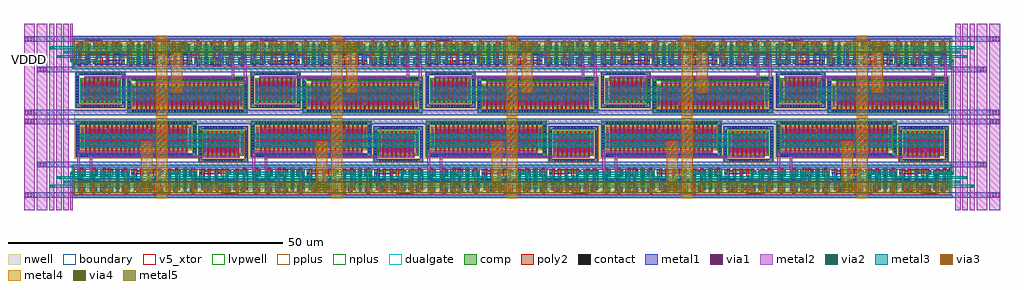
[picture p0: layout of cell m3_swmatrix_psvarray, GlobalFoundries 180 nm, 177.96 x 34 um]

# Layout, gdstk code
from math import pi, radians
import gdstk
lib = gdstk.Library(unit=1e-6, precision=5e-09)
def R(c, l, rs):  # rectangles x0, y0, x1, y1
    for r in rs: c.add(gdstk.rectangle(r[:2], r[2:], *l))
def A(c, l, x, y, w, h, nx, ny, dx, dy):  # array of equal rectangles
    R(c, l, [(x+i*dx, y+j*dy, x+i*dx+w, y+j*dy+h) for i in range(nx) for j in range(ny)])
def P(c, l, *ps):  # polygons
    for p in ps: c.add(gdstk.Polygon(p, *l))
boundary = (0, 0)
nwell = (21, 0)
comp = (22, 0)
poly2 = (30, 0)
pplus = (31, 0)
nplus = (32, 0)
contact = (33, 0)
metal1 = (34, 0)
via1 = (35, 0)
metal2 = (36, 0)
via2 = (38, 0)
via3 = (40, 0)
via4 = (41, 0)
metal3 = (42, 0)
metal4 = (46, 0)
dualgate = (55, 0)
metal5 = (81, 0)
v5_xtor = (112, 1)
lvpwell = (204, 0)

gf180mcu_fd_sc_mcu9t5v0_ = lib.new_cell('gf180mcu_fd_sc_mcu9t5v0__latq_1')
R(gf180mcu_fd_sc_mcu9t5v0_, boundary, [(0,0,11.2,5.04)])
R(gf180mcu_fd_sc_mcu9t5v0_, nwell, [(-0.43,2.265,11.63,5.47)])
R(gf180mcu_fd_sc_mcu9t5v0_, comp, [(9.54,0.345,11.02,1.665), (9.54,2.865,10.92,4.695)])
P(gf180mcu_fd_sc_mcu9t5v0_, comp, [(0.18,0.46),(0.18,1.25),(2.96,1.25),(2.96,0.55),(1.62,0.55),(1.62,0.46)],
  [(0.28,2.865),(0.28,4.245),(2.96,4.245),(2.96,3.245),(1.62,3.245),(1.62,2.865)],
  [(6.42,2.88),(6.42,3.26),(3.42,3.26),(3.42,4.26),(8.78,4.26),(8.78,2.88)],
  [(3.32,0.535),(3.32,1.235),(6.62,1.235),(6.62,1.325),(9.18,1.325),(9.18,0.535)])
P(gf180mcu_fd_sc_mcu9t5v0_, poly2, [(0.62,0.24),(0.62,1.47),(0.72,1.47),(0.72,4.465),(1.22,4.465),(1.22,0.24)],
  [(3.76,0.315),(3.76,1.455),(3.86,1.455),(3.86,4.48),(4.36,4.48),(4.36,0.315)],
  [(4.6,0.315),(4.6,1.925),(4.96,1.925),(4.96,1.715),(5.2,1.715),(5.2,0.315)],
  [(5.46,2.6),(5.46,2.96),(5.62,2.96),(5.62,4.48),(6.12,4.48),(6.12,3.04),(6.115,3.04),(6.115,2.6)],
  [(5.72,0.315),(5.72,2.16),(5.055,2.16),(5.055,2.165),(4.6,2.165),(4.6,4.72),(2.52,4.72),(2.52,0.33),(1.92,0.33),(1.92,1.47),(2.02,1.47),(2.02,4.92),(5.1,4.92),(5.1,2.36),(6.32,2.36),(6.32,0.315)],
  [(7.02,0.315),(7.02,2.66),(6.82,2.66),(6.82,4.48),(7.32,4.48),(7.32,1.925),(7.62,1.925),(7.62,0.315)],
  [(9.98,0.125),(9.98,1.965),(8.74,1.965),(8.74,0.315),(8.14,0.315),(8.14,2.66),(7.84,2.66),(7.84,4.48),(8.34,4.48),(8.34,2.325),(9.98,2.325),(9.98,4.915),(10.48,4.915),(10.48,1.885),(10.58,1.885),(10.58,0.125)])
R(gf180mcu_fd_sc_mcu9t5v0_, pplus, [(-0.2,2.265,11.4,5.24)])
R(gf180mcu_fd_sc_mcu9t5v0_, nplus, [(-0.2,-0.2,11.4,2.265)])
R(gf180mcu_fd_sc_mcu9t5v0_, contact, [(7.77,0.605,7.99,0.825), (1.37,0.615,1.59,0.835), (0.25,0.74,0.47,0.96), (2.67,0.74,2.89,0.96), (3.39,0.74,3.61,0.96), (9.61,0.74,9.83,0.96), (10.73,0.74,10.95,0.96), (5.35,0.945,5.57,1.165), (8.89,1.035,9.11,1.255), (9.61,1.21,9.83,1.43), (10.73,1.21,10.95,1.43), (0.79,1.635,1.01,1.855), (2.09,1.635,2.31,1.855), (4.07,1.635,4.29,1.855), (4.67,1.635,4.89,1.855), (7.09,1.635,7.31,1.855), (8.21,1.635,8.43,1.855), (5.53,2.67,5.75,2.89), (0.35,3.33,0.57,3.55), (1.37,3.33,1.59,3.55), (2.67,3.33,2.89,3.55), (3.49,3.33,3.71,3.55), (5.25,3.33,5.47,3.55), (7.47,3.33,7.69,3.55), (8.49,3.33,8.71,3.55), (9.61,3.33,9.83,3.55), (10.63,3.33,10.85,3.55), (0.35,3.8,0.57,4.02), (1.37,3.8,1.59,4.02), (2.67,3.8,2.89,4.02), (3.49,3.8,3.71,4.02), (5.25,3.8,5.47,4.02), (7.47,3.8,7.69,4.02), (8.49,3.8,8.71,4.02), (9.61,3.8,9.83,4.02), (10.63,3.8,10.85,4.02)])
R(gf180mcu_fd_sc_mcu9t5v0_, metal1, [(9.605,0.68,9.93,4.08), (4.065,1.21,4.33,2.15), (0.71,1.575,1.015,2.71)])
P(gf180mcu_fd_sc_mcu9t5v0_, metal1, [(0.245,0.68),(0.245,4.08),(0.575,4.08),(0.575,3.27),(0.475,3.27),(0.475,1.345),(1.085,1.345),(1.085,1.355),(2.085,1.355),(2.085,1.915),(2.315,1.915),(2.315,1.125),(1.155,1.125),(1.155,1.115),(0.475,1.115),(0.475,0.68)],
  [(2.665,0.68),(2.665,4.08),(2.895,4.08),(2.895,2.61),(5.525,2.61),(5.525,2.95),(5.755,2.95),(5.755,2.38),(4.895,2.38),(4.895,1.575),(4.665,1.575),(4.665,2.38),(2.895,2.38),(2.895,0.68)],
  [(5.345,0.885),(5.345,1.225),(5.985,1.225),(5.985,3.18),(5.245,3.18),(5.245,4.08),(5.475,4.08),(5.475,3.41),(6.215,3.41),(6.215,1.345),(8.205,1.345),(8.205,1.915),(8.435,1.915),(8.435,1.115),(6.19,1.115),(6.19,0.885)],
  [(8.665,0.975),(8.665,2.145),(7.315,2.145),(7.315,1.575),(7.085,1.575),(7.085,2.375),(8.485,2.375),(8.485,4.08),(8.735,4.08),(8.735,2.365),(9.115,2.365),(9.115,0.975)],
  [(0,-0.45),(0,0.45),(1.365,0.45),(1.365,0.895),(1.595,0.895),(1.595,0.45),(3.385,0.45),(3.385,1.02),(3.615,1.02),(3.615,0.45),(7.765,0.45),(7.765,0.885),(7.995,0.885),(7.995,0.45),(10.725,0.45),(10.725,1.49),(10.955,1.49),(10.955,0.45),(11.2,0.45),(11.2,-0.45)],
  [(1.365,3.27),(1.365,4.59),(0,4.59),(0,5.49),(11.2,5.49),(11.2,4.59),(10.855,4.59),(10.855,3.27),(10.625,3.27),(10.625,4.59),(7.695,4.59),(7.695,3.27),(7.465,3.27),(7.465,4.59),(3.715,4.59),(3.715,3.27),(3.485,3.27),(3.485,4.59),(1.595,4.59),(1.595,3.27)])
R(gf180mcu_fd_sc_mcu9t5v0_, dualgate, [(-0.28,-0.28,11.48,5.32)])
R(gf180mcu_fd_sc_mcu9t5v0_, v5_xtor, [(0,0,11.2,5.04)])
R(gf180mcu_fd_sc_mcu9t5v0_, lvpwell, [(-0.43,-0.43,11.63,2.265)])
gf180mcu_fd_sc_mcu9t5v0_.add(gdstk.Label('D', (4.2,1.4), layer=34, texttype=10))
gf180mcu_fd_sc_mcu9t5v0_.add(gdstk.Label('E', (0.84,1.96), layer=34, texttype=10))
gf180mcu_fd_sc_mcu9t5v0_.add(gdstk.Label('Q', (9.8,2.52), layer=34, texttype=10))
gf180mcu_fd_sc_mcu9t5v0_.add(gdstk.Label('VDD', (5.6,5.49), layer=34, texttype=10))
gf180mcu_fd_sc_mcu9t5v0_.add(gdstk.Label('VSS', (5.6,-0.45), layer=34, texttype=10))
gf180mcu_fd_sc_mcu9t5v0_.add(gdstk.Label('& Vendor GLOBALFOUNDRIES', (0,2), layer=63, texttype=63))
gf180mcu_fd_sc_mcu9t5v0_.add(gdstk.Label('& Product GF018hv5v_green_sc9', (0,1.5), layer=63, texttype=63))
gf180mcu_fd_sc_mcu9t5v0_.add(gdstk.Label('& Version 2015q2v2', (0,1), layer=63, texttype=63))
gf180mcu_fd_sc_mcu9t5v0_.add(gdstk.Label('& Metric 1.00', (0,0.5), layer=63, texttype=63))
gf180mcu_fd_sc_mcu9t5v0_.add(gdstk.Label('VNW', (0.345,3.92), layer=21, texttype=10))
gf180mcu_fd_sc_mcu9t5v0_.add(gdstk.Label('VPW', (0.34,-0.085), layer=204, texttype=10))

c_gf180mcu_fd_sc_mcu9t5v0_ = lib.new_cell('gf180mcu_fd_sc_mcu9t5v0__filltie')
R(c_gf180mcu_fd_sc_mcu9t5v0_, boundary, [(0,0,1.12,5.04)])
R(c_gf180mcu_fd_sc_mcu9t5v0_, nwell, [(-0.43,2.265,1.55,5.47)])
R(c_gf180mcu_fd_sc_mcu9t5v0_, comp, [(0.36,0.41,0.72,1.785), (0.36,2.425,0.72,3.855)])
R(c_gf180mcu_fd_sc_mcu9t5v0_, pplus, [(0.2,0.25,0.88,1.865)])
P(c_gf180mcu_fd_sc_mcu9t5v0_, pplus, [(-0.2,2.265),(-0.2,5.24),(1.32,5.24),(1.32,2.265),(0.88,2.265),(0.88,4.015),(0.2,4.015),(0.2,2.265)])
P(c_gf180mcu_fd_sc_mcu9t5v0_, nplus, [(-0.2,-0.2),(-0.2,2.265),(0.2,2.265),(0.2,4.015),(0.88,4.015),(0.88,1.865),(0.2,1.865),(0.2,0.25),(0.88,0.25),(0.88,4.015),(0.88,2.265),(1.32,2.265),(1.32,-0.2)])
A(c_gf180mcu_fd_sc_mcu9t5v0_, contact, 0.43, 0.555, 0.22, 0.22, 1, 3, 0, 0.47)
A(c_gf180mcu_fd_sc_mcu9t5v0_, contact, 0.43, 2.495, 0.22, 0.22, 1, 3, 0, 0.47)
P(c_gf180mcu_fd_sc_mcu9t5v0_, metal1, [(0,-0.45),(0,0.45),(0.33,0.45),(0.33,1.91),(0.71,1.91),(0.71,0.45),(1.12,0.45),(1.12,-0.45)],
  [(0.33,2.34),(0.33,4.59),(0,4.59),(0,5.49),(1.12,5.49),(1.12,4.59),(0.71,4.59),(0.71,2.34)])
R(c_gf180mcu_fd_sc_mcu9t5v0_, dualgate, [(-0.28,-0.28,1.4,5.32)])
R(c_gf180mcu_fd_sc_mcu9t5v0_, v5_xtor, [(0,0,1.12,5.04)])
R(c_gf180mcu_fd_sc_mcu9t5v0_, lvpwell, [(-0.43,-0.43,1.55,2.265)])
c_gf180mcu_fd_sc_mcu9t5v0_.add(gdstk.Label('VSS', (0.56,-0.45), layer=34, texttype=10))
c_gf180mcu_fd_sc_mcu9t5v0_.add(gdstk.Label('VDD', (0.56,5.49), layer=34, texttype=10))
c_gf180mcu_fd_sc_mcu9t5v0_.add(gdstk.Label('& Vendor GLOBALFOUNDRIES', (0,2), layer=63, texttype=63))
c_gf180mcu_fd_sc_mcu9t5v0_.add(gdstk.Label('& Product GF018hv5v_green_sc9', (0,1.5), layer=63, texttype=63))
c_gf180mcu_fd_sc_mcu9t5v0_.add(gdstk.Label('& Version 2015q2v2', (0,1), layer=63, texttype=63))
c_gf180mcu_fd_sc_mcu9t5v0_.add(gdstk.Label('& Metric 1.00', (0,0.5), layer=63, texttype=63))

m3_dff_2ph_clk_v2 = lib.new_cell('m3_dff_2ph_clk_v2')
R(m3_dff_2ph_clk_v2, metal1, [(-10.08,-5.49,12.32,-4.59), (-0.475,-4.36,-0.095,-2.42), (11.845,-4.36,12.225,-2.42), (-6.13,-4.15,-5.75,-2.89), (6.19,-4.15,6.57,-2.89), (-9.375,-3.465,-9.065,-2.09), (2.945,-3.465,3.255,-2.33), (3.255,-3.37,3.325,-2.87), (-9.065,-2.59,-8.995,-2.09), (-10.08,-0.45,12.32,0.45)])
A(m3_dff_2ph_clk_v2, via1, 11.905, -4.03, 0.26, 0.26, 1, 3, 0, 0.52)
R(m3_dff_2ph_clk_v2, via1, [(-6.07,-4.03,-5.81,-3.77), (-0.415,-4.03,-0.155,-3.77), (6.25,-4.03,6.51,-3.77), (2.985,-3.25,3.245,-2.99), (-9.335,-2.47,-9.075,-2.21)])
R(m3_dff_2ph_clk_v2, metal2, [(-6.13,-4.15,-5.75,-3.65), (-0.475,-4.15,-0.095,-3.65), (6.19,-4.15,6.57,-3.65), (11.845,-4.15,12.225,-2.67), (2.945,-3.37,3.325,-2.87), (-9.375,-2.59,-8.995,-2.09)])
R(m3_dff_2ph_clk_v2, via2, [(-6.07,-4.03,-5.81,-3.77), (-0.415,-4.03,-0.155,-3.77), (6.25,-4.03,6.51,-3.77), (11.905,-4.03,12.165,-3.77), (2.985,-3.25,3.245,-2.99), (-9.335,-2.47,-9.075,-2.21)])
m3_dff_2ph_clk_v2.add(gdstk.FlexPath([(-10.08,-3.12),(13.44,-3.12)], 0.5, ends="flush", simple_path=True, layer=42, datatype=0))  # metal3
m3_dff_2ph_clk_v2.add(gdstk.FlexPath([(-0.475,-3.9),(6.57,-3.9)], 0.5, ends="flush", simple_path=True, layer=42, datatype=0))  # metal3
m3_dff_2ph_clk_v2.add(gdstk.FlexPath([(-10.08,-3.9),(-5.75,-3.9)], 0.5, ends="flush", simple_path=True, layer=42, datatype=0))  # metal3
m3_dff_2ph_clk_v2.add(gdstk.FlexPath([(11.845,-3.9),(13.44,-3.9)], 0.5, ends="flush", simple_path=True, layer=42, datatype=0))  # metal3
m3_dff_2ph_clk_v2.add(gdstk.FlexPath([(-10.08,-2.34),(13.44,-2.34)], 0.5, ends="flush", simple_path=True, layer=42, datatype=0))  # metal3
m3_dff_2ph_clk_v2.add(gdstk.Reference(gf180mcu_fd_sc_mcu9t5v0_, (-10.08,-5.04)))
m3_dff_2ph_clk_v2.add(gdstk.Reference(c_gf180mcu_fd_sc_mcu9t5v0_, (1.12,-5.04)))
m3_dff_2ph_clk_v2.add(gdstk.Reference(gf180mcu_fd_sc_mcu9t5v0_, (2.24,-5.04)))
m3_dff_2ph_clk_v2.add(gdstk.Label('VSSD', (-10.07,-5.48), layer=34, texttype=10))
m3_dff_2ph_clk_v2.add(gdstk.Label('VDDD', (-10.07,0.44), layer=34, texttype=10))
m3_dff_2ph_clk_v2.add(gdstk.Label('Q', (13.425,-3.9), layer=42, texttype=10))
m3_dff_2ph_clk_v2.add(gdstk.Label('CLK_PH1', (-10.065,-2.34), layer=42, texttype=10))
m3_dff_2ph_clk_v2.add(gdstk.Label('CLK_PH2', (-10.065,-3.12), layer=42, texttype=10))
m3_dff_2ph_clk_v2.add(gdstk.Label('D', (-10.065,-3.9), layer=42, texttype=10))

pfet = lib.new_cell('pfet')
R(pfet, nwell, [(-1.76,-1.43,20.82,5.81)])
R(pfet, comp, [(-0.46,0,0,4), (0,0,19.06,4), (19.06,0,19.52,4)])
P(pfet, comp, [(-1.32,-0.99),(-1.32,4.99),(-0.94,4.99),(-0.94,-0.61),(20,-0.61),(20,4.99),(-1.32,4.99),(-1.32,5.37),(20.38,5.37),(20.38,-0.99)])
A(pfet, poly2, 0.19, -0.3, 0.28, 4.6, 24, 1, 0.8, 0)
A(pfet, poly2, 0.14, 4.3, 0.38, 0.38, 24, 1, 0.8, 0)
R(pfet, pplus, [(-0.63,-0.24,19.69,4.24)])
A(pfet, contact, -0.525, -0.91, 0.22, 0.22, 40, 2, 0.51, 5.98)
A(pfet, contact, -1.24, -0.215, 0.22, 0.22, 1, 10, 0, 0.51)
A(pfet, contact, 20.08, -0.215, 0.22, 0.22, 1, 10, 0, 0.51)
A(pfet, contact, -0.34, 0.36, 0.22, 0.22, 1, 7, 0, 0.51)
A(pfet, contact, 0.62, 0.36, 0.22, 0.22, 23, 7, 0.8, 0.51)
A(pfet, contact, 19.18, 0.36, 0.22, 0.22, 1, 7, 0, 0.51)
A(pfet, contact, 0.22, 4.38, 0.22, 0.22, 24, 1, 0.8, 0)
A(pfet, metal1, 0.54, 0.28, 0.38, 3.44, 23, 1, 0.8, 0)
A(pfet, metal1, 0.14, 4.3, 0.38, 0.38, 24, 1, 0.8, 0)
R(pfet, metal1, [(-0.42,0.28,-0.04,3.72), (19.1,0.28,19.48,3.72)])

c_gf180mcu_fd_sc_mcu9t5v0__ = lib.new_cell('gf180mcu_fd_sc_mcu9t5v0__nand2_1')
R(c_gf180mcu_fd_sc_mcu9t5v0__, boundary, [(0,0,2.8,5.04)])
R(c_gf180mcu_fd_sc_mcu9t5v0__, nwell, [(-0.43,2.265,3.23,5.47)])
R(c_gf180mcu_fd_sc_mcu9t5v0__, comp, [(0.185,0.345,2.585,1.665), (0.185,2.865,2.585,4.51)])
P(c_gf180mcu_fd_sc_mcu9t5v0__, poly2, [(0.625,0.125),(0.625,4.73),(1.125,4.73),(1.125,1.885),(1.225,1.885),(1.225,0.125)],
  [(1.545,0.125),(1.545,1.885),(1.645,1.885),(1.645,4.73),(2.145,4.73),(2.145,0.125)])
R(c_gf180mcu_fd_sc_mcu9t5v0__, pplus, [(-0.2,2.265,3,5.24)])
R(c_gf180mcu_fd_sc_mcu9t5v0__, nplus, [(-0.2,-0.2,3,2.265)])
R(c_gf180mcu_fd_sc_mcu9t5v0__, contact, [(0.255,0.415,0.475,0.635), (2.295,0.74,2.515,0.96), (0.255,0.885,0.475,1.105), (2.295,1.21,2.515,1.43), (1.835,2.39,2.055,2.61), (0.695,2.475,0.915,2.695), (1.275,3.08,1.495,3.3), (1.275,3.55,1.495,3.77), (0.255,3.75,0.475,3.97), (0.255,4.22,0.475,4.44), (2.295,4.22,2.515,4.44)])
R(c_gf180mcu_fd_sc_mcu9t5v0__, metal1, [(0.635,1.77,0.975,2.71), (1.83,2.33,2.09,3.27)])
P(c_gf180mcu_fd_sc_mcu9t5v0__, metal1, [(2.29,0.68),(2.29,1.21),(1.27,1.21),(1.27,1.59),(2.32,1.59),(2.32,3.6),(1.53,3.6),(1.53,3.02),(1.27,3.02),(1.27,3.83),(2.55,3.83),(2.55,0.68)],
  [(0,-0.45),(0,0.45),(0.25,0.45),(0.25,1.165),(0.48,1.165),(0.48,0.45),(2.8,0.45),(2.8,-0.45)],
  [(0.25,3.69),(0.25,4.59),(0,4.59),(0,5.49),(2.8,5.49),(2.8,4.59),(2.52,4.59),(2.52,4.16),(2.29,4.16),(2.29,4.59),(0.48,4.59),(0.48,3.69)])
R(c_gf180mcu_fd_sc_mcu9t5v0__, dualgate, [(-0.28,-0.28,3.08,5.32)])
R(c_gf180mcu_fd_sc_mcu9t5v0__, v5_xtor, [(0,0,2.8,5.04)])
R(c_gf180mcu_fd_sc_mcu9t5v0__, lvpwell, [(-0.43,-0.43,3.23,2.265)])
c_gf180mcu_fd_sc_mcu9t5v0__.add(gdstk.Label('A1', (1.96,2.52), layer=34, texttype=10))
c_gf180mcu_fd_sc_mcu9t5v0__.add(gdstk.Label('A2', (0.84,1.96), layer=34, texttype=10))
c_gf180mcu_fd_sc_mcu9t5v0__.add(gdstk.Label('VDD', (1.4,5.49), layer=34, texttype=10))
c_gf180mcu_fd_sc_mcu9t5v0__.add(gdstk.Label('VSS', (1.4,-0.45), layer=34, texttype=10))
c_gf180mcu_fd_sc_mcu9t5v0__.add(gdstk.Label('ZN', (1.96,1.4), layer=34, texttype=10))
c_gf180mcu_fd_sc_mcu9t5v0__.add(gdstk.Label('& Vendor GLOBALFOUNDRIES', (0,2), layer=63, texttype=63))
c_gf180mcu_fd_sc_mcu9t5v0__.add(gdstk.Label('& Product GF018hv5v_green_sc9', (0,1.5), layer=63, texttype=63))
c_gf180mcu_fd_sc_mcu9t5v0__.add(gdstk.Label('& Version 2015q2v2', (0,1), layer=63, texttype=63))
c_gf180mcu_fd_sc_mcu9t5v0__.add(gdstk.Label('& Metric 1.00', (0,0.5), layer=63, texttype=63))
c_gf180mcu_fd_sc_mcu9t5v0__.add(gdstk.Label('VNW', (0.345,3.92), layer=21, texttype=10))
c_gf180mcu_fd_sc_mcu9t5v0__.add(gdstk.Label('VPW', (0.34,-0.085), layer=204, texttype=10))

c_gf180mcu_fd_sc_mcu9t5v0___ = lib.new_cell('gf180mcu_fd_sc_mcu9t5v0__inv_1')
R(c_gf180mcu_fd_sc_mcu9t5v0___, boundary, [(0,0,2.24,5.04)])
R(c_gf180mcu_fd_sc_mcu9t5v0___, nwell, [(-0.43,2.265,2.67,5.47)])
R(c_gf180mcu_fd_sc_mcu9t5v0___, comp, [(0.18,0.345,1.66,1.665), (0.28,2.865,1.66,4.695)])
P(c_gf180mcu_fd_sc_mcu9t5v0___, poly2, [(0.62,0.125),(0.62,1.885),(0.72,1.885),(0.72,4.915),(1.22,4.915),(1.22,0.125)])
R(c_gf180mcu_fd_sc_mcu9t5v0___, pplus, [(-0.2,2.265,2.44,5.24)])
R(c_gf180mcu_fd_sc_mcu9t5v0___, nplus, [(-0.2,-0.2,2.44,2.265)])
R(c_gf180mcu_fd_sc_mcu9t5v0___, contact, [(0.25,0.74,0.47,0.96), (1.37,0.74,1.59,0.96), (0.25,1.21,0.47,1.43), (1.37,1.21,1.59,1.43), (0.79,1.835,1.01,2.055), (0.79,2.305,1.01,2.525), (0.35,3.61,0.57,3.83), (1.37,3.61,1.59,3.83), (0.35,4.08,0.57,4.3), (1.37,4.08,1.59,4.3)])
P(c_gf180mcu_fd_sc_mcu9t5v0___, metal1, [(0.71,1.21),(0.71,2.53),(1.07,2.53),(1.07,2.3),(1.015,2.3),(1.015,1.21)],
  [(1.27,0.68),(1.27,2.15),(1.365,2.15),(1.365,4.36),(1.595,4.36),(1.595,0.68)],
  [(0,-0.45),(0,0.45),(0.245,0.45),(0.245,1.49),(0.475,1.49),(0.475,0.45),(2.24,0.45),(2.24,-0.45)],
  [(0.345,3.55),(0.345,4.59),(0,4.59),(0,5.49),(2.24,5.49),(2.24,4.59),(0.575,4.59),(0.575,3.55)])
R(c_gf180mcu_fd_sc_mcu9t5v0___, dualgate, [(-0.28,-0.28,2.52,5.32)])
R(c_gf180mcu_fd_sc_mcu9t5v0___, v5_xtor, [(0,0,2.24,5.04)])
R(c_gf180mcu_fd_sc_mcu9t5v0___, lvpwell, [(-0.43,-0.43,2.67,2.265)])
c_gf180mcu_fd_sc_mcu9t5v0___.add(gdstk.Label('I', (0.84,1.96), layer=34, texttype=10))
c_gf180mcu_fd_sc_mcu9t5v0___.add(gdstk.Label('VDD', (1.12,5.49), layer=34, texttype=10))
c_gf180mcu_fd_sc_mcu9t5v0___.add(gdstk.Label('VSS', (1.12,-0.45), layer=34, texttype=10))
c_gf180mcu_fd_sc_mcu9t5v0___.add(gdstk.Label('ZN', (1.4,1.96), layer=34, texttype=10))
c_gf180mcu_fd_sc_mcu9t5v0___.add(gdstk.Label('& Vendor GLOBALFOUNDRIES', (0,2), layer=63, texttype=63))
c_gf180mcu_fd_sc_mcu9t5v0___.add(gdstk.Label('& Product GF018hv5v_green_sc9', (0,1.5), layer=63, texttype=63))
c_gf180mcu_fd_sc_mcu9t5v0___.add(gdstk.Label('& Version 2015q2v2', (0,1), layer=63, texttype=63))
c_gf180mcu_fd_sc_mcu9t5v0___.add(gdstk.Label('& Metric 1.00', (0,0.5), layer=63, texttype=63))
c_gf180mcu_fd_sc_mcu9t5v0___.add(gdstk.Label('VNW', (0.345,3.92), layer=21, texttype=10))
c_gf180mcu_fd_sc_mcu9t5v0___.add(gdstk.Label('VPW', (0.34,-0.085), layer=204, texttype=10))

c_gf180mcu_fd_sc_mcu9t5v0____ = lib.new_cell('gf180mcu_fd_sc_mcu9t5v0__filltie$4')
R(c_gf180mcu_fd_sc_mcu9t5v0____, boundary, [(0,0,1.12,5.04)])
R(c_gf180mcu_fd_sc_mcu9t5v0____, nwell, [(-0.43,2.265,1.55,5.47)])
R(c_gf180mcu_fd_sc_mcu9t5v0____, comp, [(0.36,0.41,0.72,1.785), (0.36,2.425,0.72,3.855)])
R(c_gf180mcu_fd_sc_mcu9t5v0____, pplus, [(0.2,0.25,0.88,1.865)])
P(c_gf180mcu_fd_sc_mcu9t5v0____, pplus, [(-0.2,2.265),(-0.2,5.24),(1.32,5.24),(1.32,2.265),(0.88,2.265),(0.88,4.015),(0.2,4.015),(0.2,2.265)])
P(c_gf180mcu_fd_sc_mcu9t5v0____, nplus, [(-0.2,-0.2),(-0.2,2.265),(0.2,2.265),(0.2,4.015),(0.88,4.015),(0.88,1.865),(0.2,1.865),(0.2,0.25),(0.88,0.25),(0.88,4.015),(0.88,2.265),(1.32,2.265),(1.32,-0.2)])
A(c_gf180mcu_fd_sc_mcu9t5v0____, contact, 0.43, 0.555, 0.22, 0.22, 1, 3, 0, 0.47)
A(c_gf180mcu_fd_sc_mcu9t5v0____, contact, 0.43, 2.495, 0.22, 0.22, 1, 3, 0, 0.47)
P(c_gf180mcu_fd_sc_mcu9t5v0____, metal1, [(0,-0.45),(0,0.45),(0.33,0.45),(0.33,1.91),(0.71,1.91),(0.71,0.45),(1.12,0.45),(1.12,-0.45)],
  [(0.33,2.34),(0.33,4.59),(0,4.59),(0,5.49),(1.12,5.49),(1.12,4.59),(0.71,4.59),(0.71,2.34)])
R(c_gf180mcu_fd_sc_mcu9t5v0____, dualgate, [(-0.28,-0.28,1.4,5.32)])
R(c_gf180mcu_fd_sc_mcu9t5v0____, v5_xtor, [(0,0,1.12,5.04)])
R(c_gf180mcu_fd_sc_mcu9t5v0____, lvpwell, [(-0.43,-0.43,1.55,2.265)])
c_gf180mcu_fd_sc_mcu9t5v0____.add(gdstk.Label('VSS', (0.56,-0.45), layer=34, texttype=10))
c_gf180mcu_fd_sc_mcu9t5v0____.add(gdstk.Label('VDD', (0.56,5.49), layer=34, texttype=10))
c_gf180mcu_fd_sc_mcu9t5v0____.add(gdstk.Label('& Vendor GLOBALFOUNDRIES', (0,2), layer=63, texttype=63))
c_gf180mcu_fd_sc_mcu9t5v0____.add(gdstk.Label('& Product GF018hv5v_green_sc9', (0,1.5), layer=63, texttype=63))
c_gf180mcu_fd_sc_mcu9t5v0____.add(gdstk.Label('& Version 2015q2v2', (0,1), layer=63, texttype=63))
c_gf180mcu_fd_sc_mcu9t5v0____.add(gdstk.Label('& Metric 1.00', (0,0.5), layer=63, texttype=63))

nfet = lib.new_cell('nfet')
R(nfet, comp, [(-0.42,0,0,4), (0,0,6.26,4), (6.26,0,6.68,4)])
P(nfet, comp, [(-1.28,-0.99),(-1.28,4.98),(-0.9,4.98),(-0.9,-0.61),(7.16,-0.61),(7.16,4.98),(-1.28,4.98),(-1.28,5.36),(7.54,5.36),(7.54,-0.99)])
A(nfet, poly2, 0.19, -0.3, 0.28, 4.6, 8, 1, 0.8, 0)
A(nfet, poly2, 0.15, 4.3, 0.36, 0.36, 8, 1, 0.8, 0)
P(nfet, pplus, [(-1.45,-1.16),(-1.45,4.81),(-0.73,4.81),(-0.73,-0.44),(6.99,-0.44),(6.99,4.81),(-1.45,4.81),(-1.45,5.53),(7.71,5.53),(7.71,-1.16)])
R(nfet, nplus, [(-0.59,-0.24,6.85,4.24)])
A(nfet, contact, -0.295, -0.91, 0.22, 0.22, 14, 2, 0.51, 5.97)
A(nfet, contact, -1.2, -0.22, 0.22, 0.22, 1, 10, 0, 0.51)
A(nfet, contact, 7.24, -0.22, 0.22, 0.22, 1, 10, 0, 0.51)
A(nfet, contact, -0.32, 0.36, 0.22, 0.22, 1, 7, 0, 0.51)
A(nfet, contact, 0.62, 0.36, 0.22, 0.22, 7, 7, 0.8, 0.51)
A(nfet, contact, 6.36, 0.36, 0.22, 0.22, 1, 7, 0, 0.51)
A(nfet, contact, 0.22, 4.37, 0.22, 0.22, 8, 1, 0.8, 0)
A(nfet, metal1, 0.54, 0.28, 0.38, 3.44, 7, 1, 0.8, 0)
A(nfet, metal1, 0.14, 4.29, 0.38, 0.38, 8, 1, 0.8, 0)
R(nfet, metal1, [(-0.4,0.28,-0.02,3.72), (6.28,0.28,6.66,3.72)])

m3_tgate_v2 = lib.new_cell('m3_tgate_v2')
R(m3_tgate_v2, metal1, [(12.885,2.2,12.945,3.55), (15.125,2.2,15.185,3.55), (10.2,3.85,10.32,4.29)])
A(m3_tgate_v2, via1, -5.41, -5.21, 0.26, 0.26, 1, 6, 0, 0.52)
A(m3_tgate_v2, via1, -4.45, -5.21, 0.26, 0.26, 23, 6, 0.8, 0.52)
A(m3_tgate_v2, via1, 14.11, -5.21, 0.26, 0.26, 1, 6, 0, 0.52)
A(m3_tgate_v2, via1, -14.86, -4.26, 0.26, 0.26, 1, 6, 0, 0.52)
A(m3_tgate_v2, via1, -13.92, -4.26, 0.26, 0.26, 7, 6, 0.8, 0.52)
A(m3_tgate_v2, via1, -8.18, -4.26, 0.26, 0.26, 1, 6, 0, 0.52)
A(m3_tgate_v2, via1, -4.85, -1.42, 0.26, 0.26, 24, 1, 0.8, 0)
A(m3_tgate_v2, via1, -14.32, -0.48, 0.26, 0.26, 8, 1, 0.8, 0)
A(m3_tgate_v2, via1, 12.625, 2.27, 0.26, 0.26, 1, 3, 0, 0.52)
A(m3_tgate_v2, via1, 14.865, 2.27, 0.26, 0.26, 1, 3, 0, 0.52)
R(m3_tgate_v2, via1, [(9.165,3.39,9.425,3.65), (9.165,3.91,9.425,4.17), (10.26,3.95,10.52,4.21)])
A(m3_tgate_v2, via2, -13.12, -4.49, 0.26, 0.26, 3, 2, 1.6, 0.62)
A(m3_tgate_v2, via2, -3.65, -4.49, 0.26, 0.26, 11, 2, 1.6, 0.62)
A(m3_tgate_v2, via2, -13.92, -3, 0.26, 0.26, 4, 2, 1.6, 0.62)
A(m3_tgate_v2, via2, -4.45, -3, 0.26, 0.26, 3, 2, 1.6, 0.62)
R(m3_tgate_v2, via2, [(-14.86,-4.49,-14.6,-4.23), (-8.18,-4.49,-7.92,-4.23), (-5.41,-4.49,-5.15,-4.23), (14.11,-4.49,14.37,-4.23), (-14.86,-3.87,-14.6,-3.61), (-8.18,-3.87,-7.92,-3.61), (-5.41,-3.87,-5.15,-3.61), (14.11,-3.87,14.37,-3.61), (0.355,-3,0.615,-2.74), (1.95,-3,2.21,-2.74), (3.55,-3,3.81,-2.74), (5.155,-3,5.415,-2.74), (6.75,-3,7.01,-2.74), (8.35,-3,8.61,-2.74), (9.955,-3,10.215,-2.74), (11.55,-3,11.81,-2.74), (13.15,-3,13.41,-2.74), (0.355,-2.38,0.615,-2.12), (1.95,-2.38,2.21,-2.12), (3.55,-2.38,3.81,-2.12), (5.155,-2.38,5.415,-2.12), (6.75,-2.38,7.01,-2.12), (8.35,-2.38,8.61,-2.12), (9.955,-2.38,10.215,-2.12), (11.55,-2.38,11.81,-2.12), (13.15,-2.38,13.41,-2.12), (10.24,2.53,10.5,2.79), (9.165,4.87,9.425,5.13)])
m3_tgate_v2.add(gdstk.FlexPath([(-6.54,-0.6),(15.14,-0.6),(15.14,-6.58),(-6.18,-6.58),(-6.18,-0.96)], 0.72, ends="flush", simple_path=True, layer=32, datatype=0))  # nplus
m3_tgate_v2.add(gdstk.FlexPath([(13.87,-1.29),(-4.91,-1.29)], 0.38, ends="flush", simple_path=True, layer=34, datatype=0))  # metal1
m3_tgate_v2.add(gdstk.FlexPath([(-6.43,-0.6),(15.14,-0.6),(15.14,-6.58),(-6.18,-6.58),(-6.18,-0.85)], 0.5, ends="flush", simple_path=True, layer=34, datatype=0))  # metal1
m3_tgate_v2.add(gdstk.FlexPath([(15.77,-6.83),(-15.97,-6.83)], 1, ends="flush", simple_path=True, layer=34, datatype=0))  # metal1
m3_tgate_v2.add(gdstk.FlexPath([(11.04,3.8),(12,3.8)], 0.5, ends="flush", simple_path=True, layer=34, datatype=0))  # metal1
m3_tgate_v2.add(gdstk.FlexPath([(12.885,3.8),(14.24,3.8)], 0.5, ends="flush", simple_path=True, layer=34, datatype=0))  # metal1
m3_tgate_v2.add(gdstk.FlexPath([(15.77,6.61),(7.37,6.61)], 1, ends="flush", simple_path=True, layer=34, datatype=0))  # metal1
m3_tgate_v2.add(gdstk.FlexPath([(15.77,1.09),(-15.97,1.09)], 1, ends="flush", simple_path=True, layer=34, datatype=0))  # metal1
m3_tgate_v2.add(gdstk.FlexPath([(-15.86,0.34),(-7.17,0.34),(-7.17,-5.63),(-15.61,-5.63),(-15.61,0.09)], 0.5, ends="flush", simple_path=True, layer=34, datatype=0))  # metal1
m3_tgate_v2.add(gdstk.FlexPath([(-14.38,-0.35),(-8.4,-0.35)], 0.38, ends="flush", simple_path=True, layer=34, datatype=0))  # metal1
m3_tgate_v2.add(gdstk.FlexPath([(15.77,5),(7.37,5)], 0.5, ends="flush", simple_path=True, layer=42, datatype=0))  # metal3
m3_tgate_v2.add(gdstk.FlexPath([(10.62,2.66),(7.37,2.66)], 0.5, ends="flush", simple_path=True, layer=42, datatype=0))  # metal3
m3_tgate_v2.add(gdstk.FlexPath([(14.78,-4.05),(-15.11,-4.05)], 1, ends="flush", simple_path=True, layer=42, datatype=0))  # metal3
m3_tgate_v2.add(gdstk.FlexPath([(14.78,-2.56),(-15.11,-2.56)], 1, ends="flush", simple_path=True, layer=42, datatype=0))  # metal3
m3_tgate_v2.add(gdstk.FlexPath([(15.245,-1.29),(-4.91,-1.29)], 0.38, ends="flush", simple_path=True, layer=36, datatype=0))  # metal2
m3_tgate_v2.add(gdstk.FlexPath([(-5.28,-5.5),(-5.28,-2.06)], 0.38, ends="flush", simple_path=True, layer=36, datatype=0))  # metal2
m3_tgate_v2.add(gdstk.FlexPath([(-4.32,-5.5),(-4.32,-2.06)], 0.38, ends="flush", simple_path=True, layer=36, datatype=0))  # metal2
m3_tgate_v2.add(gdstk.FlexPath([(-3.52,-5.5),(-3.52,-2.06)], 0.38, ends="flush", simple_path=True, layer=36, datatype=0))  # metal2
m3_tgate_v2.add(gdstk.FlexPath([(3.68,-5.5),(3.68,-2.06)], 0.38, ends="flush", simple_path=True, layer=36, datatype=0))  # metal2
m3_tgate_v2.add(gdstk.FlexPath([(2.88,-5.5),(2.88,-2.06)], 0.38, ends="flush", simple_path=True, layer=36, datatype=0))  # metal2
m3_tgate_v2.add(gdstk.FlexPath([(2.08,-5.5),(2.08,-2.06)], 0.38, ends="flush", simple_path=True, layer=36, datatype=0))  # metal2
m3_tgate_v2.add(gdstk.FlexPath([(1.28,-5.5),(1.28,-2.06)], 0.38, ends="flush", simple_path=True, layer=36, datatype=0))  # metal2
m3_tgate_v2.add(gdstk.FlexPath([(0.48,-5.5),(0.48,-2.06)], 0.38, ends="flush", simple_path=True, layer=36, datatype=0))  # metal2
m3_tgate_v2.add(gdstk.FlexPath([(-0.32,-5.5),(-0.32,-2.06)], 0.38, ends="flush", simple_path=True, layer=36, datatype=0))  # metal2
m3_tgate_v2.add(gdstk.FlexPath([(-1.12,-5.5),(-1.12,-2.06)], 0.38, ends="flush", simple_path=True, layer=36, datatype=0))  # metal2
m3_tgate_v2.add(gdstk.FlexPath([(-1.92,-5.5),(-1.92,-2.06)], 0.38, ends="flush", simple_path=True, layer=36, datatype=0))  # metal2
m3_tgate_v2.add(gdstk.FlexPath([(-2.72,-5.5),(-2.72,-2.06)], 0.38, ends="flush", simple_path=True, layer=36, datatype=0))  # metal2
m3_tgate_v2.add(gdstk.FlexPath([(10.37,2.41),(10.37,4.27)], 0.5, ends="flush", simple_path=True, layer=36, datatype=0))  # metal2
m3_tgate_v2.add(gdstk.FlexPath([(9.295,3.33),(9.295,5.25)], 0.5, ends="flush", simple_path=True, layer=36, datatype=0))  # metal2
m3_tgate_v2.add(gdstk.FlexPath([(4.48,-5.5),(4.48,-2.06)], 0.38, ends="flush", simple_path=True, layer=36, datatype=0))  # metal2
m3_tgate_v2.add(gdstk.FlexPath([(5.28,-5.5),(5.28,-2.06)], 0.38, ends="flush", simple_path=True, layer=36, datatype=0))  # metal2
m3_tgate_v2.add(gdstk.FlexPath([(6.08,-5.5),(6.08,-2.06)], 0.38, ends="flush", simple_path=True, layer=36, datatype=0))  # metal2
m3_tgate_v2.add(gdstk.FlexPath([(6.88,-5.5),(6.88,-2.06)], 0.38, ends="flush", simple_path=True, layer=36, datatype=0))  # metal2
m3_tgate_v2.add(gdstk.FlexPath([(7.68,-5.5),(7.68,-2.06)], 0.38, ends="flush", simple_path=True, layer=36, datatype=0))  # metal2
m3_tgate_v2.add(gdstk.FlexPath([(8.48,-5.5),(8.48,-2.06)], 0.38, ends="flush", simple_path=True, layer=36, datatype=0))  # metal2
m3_tgate_v2.add(gdstk.FlexPath([(14.24,-5.5),(14.24,-2.06)], 0.38, ends="flush", simple_path=True, layer=36, datatype=0))  # metal2
m3_tgate_v2.add(gdstk.FlexPath([(12.755,-0.16),(12.755,3.63)], 0.5, ends="flush", simple_path=True, layer=36, datatype=0))  # metal2
m3_tgate_v2.add(gdstk.FlexPath([(14.995,-1.1),(14.995,3.63)], 0.5, ends="flush", simple_path=True, layer=36, datatype=0))  # metal2
m3_tgate_v2.add(gdstk.FlexPath([(10.08,-5.5),(10.08,-2.06)], 0.38, ends="flush", simple_path=True, layer=36, datatype=0))  # metal2
m3_tgate_v2.add(gdstk.FlexPath([(10.88,-5.5),(10.88,-2.06)], 0.38, ends="flush", simple_path=True, layer=36, datatype=0))  # metal2
m3_tgate_v2.add(gdstk.FlexPath([(11.68,-5.5),(11.68,-2.06)], 0.38, ends="flush", simple_path=True, layer=36, datatype=0))  # metal2
m3_tgate_v2.add(gdstk.FlexPath([(12.48,-5.5),(12.48,-2.06)], 0.38, ends="flush", simple_path=True, layer=36, datatype=0))  # metal2
m3_tgate_v2.add(gdstk.FlexPath([(13.28,-5.5),(13.28,-2.06)], 0.38, ends="flush", simple_path=True, layer=36, datatype=0))  # metal2
m3_tgate_v2.add(gdstk.FlexPath([(9.28,-5.5),(9.28,-2.06)], 0.38, ends="flush", simple_path=True, layer=36, datatype=0))  # metal2
m3_tgate_v2.add(gdstk.FlexPath([(-8.99,-4.55),(-8.99,-1.11)], 0.38, ends="flush", simple_path=True, layer=36, datatype=0))  # metal2
m3_tgate_v2.add(gdstk.FlexPath([(-9.79,-4.55),(-9.79,-1.11)], 0.38, ends="flush", simple_path=True, layer=36, datatype=0))  # metal2
m3_tgate_v2.add(gdstk.FlexPath([(-10.59,-4.55),(-10.59,-1.11)], 0.38, ends="flush", simple_path=True, layer=36, datatype=0))  # metal2
m3_tgate_v2.add(gdstk.FlexPath([(-11.39,-4.55),(-11.39,-1.11)], 0.38, ends="flush", simple_path=True, layer=36, datatype=0))  # metal2
m3_tgate_v2.add(gdstk.FlexPath([(-12.19,-4.55),(-12.19,-1.11)], 0.38, ends="flush", simple_path=True, layer=36, datatype=0))  # metal2
m3_tgate_v2.add(gdstk.FlexPath([(-14.73,-4.55),(-14.73,-1.11)], 0.38, ends="flush", simple_path=True, layer=36, datatype=0))  # metal2
m3_tgate_v2.add(gdstk.FlexPath([(-8.05,-4.55),(-8.05,-1.11)], 0.38, ends="flush", simple_path=True, layer=36, datatype=0))  # metal2
m3_tgate_v2.add(gdstk.FlexPath([(13.005,-0.35),(-14.38,-0.35)], 0.38, ends="flush", simple_path=True, layer=36, datatype=0))  # metal2
m3_tgate_v2.add(gdstk.FlexPath([(-12.99,-4.55),(-12.99,-1.11)], 0.38, ends="flush", simple_path=True, layer=36, datatype=0))  # metal2
m3_tgate_v2.add(gdstk.FlexPath([(-13.79,-4.55),(-13.79,-1.11)], 0.38, ends="flush", simple_path=True, layer=36, datatype=0))  # metal2
m3_tgate_v2.add(gdstk.Reference(pfet, (-5.05,-5.78)))
m3_tgate_v2.add(gdstk.Reference(c_gf180mcu_fd_sc_mcu9t5v0__, (8.49,1.52)))
m3_tgate_v2.add(gdstk.Reference(c_gf180mcu_fd_sc_mcu9t5v0___, (11.29,1.52)))
m3_tgate_v2.add(gdstk.Reference(c_gf180mcu_fd_sc_mcu9t5v0____, (7.37,1.52)))
m3_tgate_v2.add(gdstk.Reference(c_gf180mcu_fd_sc_mcu9t5v0___, (13.53,1.52)))
m3_tgate_v2.add(gdstk.Reference(nfet, (-14.52,-4.83)))
m3_tgate_v2.add(gdstk.Label('VDDD', (-15.955,-6.83), layer=34, texttype=10))
m3_tgate_v2.add(gdstk.Label('VDDD', (7.385,6.995), layer=34, texttype=10))
m3_tgate_v2.add(gdstk.Label('VSSD', (8.505,1.085), layer=34, texttype=10))
m3_tgate_v2.add(gdstk.Label('VSSD', (-15.955,1.09), layer=34, texttype=10))
m3_tgate_v2.add(gdstk.Label('CON', (7.385,2.66), layer=42, texttype=10))
m3_tgate_v2.add(gdstk.Label('EN', (7.385,5), layer=42, texttype=10))
m3_tgate_v2.add(gdstk.Label('T1', (-15.095,-2.56), layer=42, texttype=10))
m3_tgate_v2.add(gdstk.Label('T2', (-15.095,-4.05), layer=42, texttype=10))

m3_switch_cell_v2 = lib.new_cell('m3_switch_cell_v2')
R(m3_switch_cell_v2, nwell, [(-3.625,-15.705,28.295,-14.705), (-4.055,-1.245,28.725,-0.985)])
A(m3_switch_cell_v2, via3, 11.425, -12.675, 0.26, 0.26, 4, 2, 0.52, 0.52)
A(m3_switch_cell_v2, via3, 14.16, -11.185, 0.26, 0.26, 4, 2, 0.52, 0.52)
A(m3_switch_cell_v2, via4, 14.16, -3.705, 0.26, 0.26, 4, 3, 0.52, 0.52)
m3_switch_cell_v2.add(gdstk.FlexPath([(-3.625,-15.065),(28.295,-15.065)], 1, ends="flush", simple_path=True, layer=34, datatype=0))  # metal1
m3_switch_cell_v2.add(gdstk.FlexPath([(-3.625,-1.625),(28.295,-1.625)], 1, ends="flush", simple_path=True, layer=34, datatype=0))  # metal1
m3_switch_cell_v2.add(gdstk.FlexPath([(-3.625,-4.015),(28.295,-4.015)], 0.5, ends="flush", simple_path=True, layer=42, datatype=0))  # metal3
m3_switch_cell_v2.add(gdstk.FlexPath([(-3.625,-4.795),(28.295,-4.795)], 0.5, ends="flush", simple_path=True, layer=42, datatype=0))  # metal3
m3_switch_cell_v2.add(gdstk.FlexPath([(-3.625,-5.575),(0.705,-5.575)], 0.5, ends="flush", simple_path=True, layer=42, datatype=0))  # metal3
m3_switch_cell_v2.add(gdstk.FlexPath([(18.3,-5.575),(28.295,-5.575)], 0.5, ends="flush", simple_path=True, layer=42, datatype=0))  # metal3
m3_switch_cell_v2.add(gdstk.FlexPath([(-3.625,-3.235),(28.295,-3.235)], 0.5, ends="flush", simple_path=True, layer=42, datatype=0))  # metal3
m3_switch_cell_v2.add(gdstk.FlexPath([(12.335,-0.985),(12.335,-15.705)], 2, ends="flush", simple_path=True, layer=46, datatype=0))  # metal4
m3_switch_cell_v2.add(gdstk.FlexPath([(15.07,-2.055),(15.07,-11.295)], 2, ends="flush", simple_path=True, layer=46, datatype=0))  # metal4
m3_switch_cell_v2.add(gdstk.FlexPath([(-3.625,-3.055),(28.295,-3.055)], 2, ends="flush", simple_path=True, layer=81, datatype=0))  # metal5
m3_switch_cell_v2.add(gdstk.Reference(m3_dff_2ph_clk_v2, (6.455,-1.675)))
m3_switch_cell_v2.add(gdstk.Reference(m3_tgate_v2, (12.525,-8.235)))
m3_switch_cell_v2.add(gdstk.Label('VSSD', (-3.43,-7.98), layer=34, texttype=10))
m3_switch_cell_v2.add(gdstk.Label('VDDD', (-3.215,-15.55), layer=34, texttype=10))
m3_switch_cell_v2.add(gdstk.Label('VDDD', (-3.215,-2.11), layer=34, texttype=10))
m3_switch_cell_v2.add(gdstk.Label('T2', (5.815,-12.495), layer=42, texttype=10))
m3_switch_cell_v2.add(gdstk.Label('T1', (5.815,-11.005), layer=42, texttype=10))
m3_switch_cell_v2.add(gdstk.Label('DATA_IN', (0.575,-5.575), layer=42, texttype=10))
m3_switch_cell_v2.add(gdstk.Label('CLK_PH2', (0.575,-4.795), layer=42, texttype=10))
m3_switch_cell_v2.add(gdstk.Label('CLK_PH1', (0.575,-4.015), layer=42, texttype=10))
m3_switch_cell_v2.add(gdstk.Label('DATA_OUT', (28.28,-5.575), layer=42, texttype=10))
m3_switch_cell_v2.add(gdstk.Label('EN', (-3.61,-3.235), layer=42, texttype=10))

m3_swmatrix_psvarray = lib.new_cell('m3_swmatrix_psvarray')
R(m3_swmatrix_psvarray, nwell, [(-18.59,72.625,141.01,72.905)])
A(m3_swmatrix_psvarray, via1, -27.68, 58.155, 0.26, 0.26, 4, 2, 0.52, 0.52)
A(m3_swmatrix_psvarray, via1, 148.28, 58.155, 0.26, 0.26, 4, 2, 0.52, 0.52)
A(m3_swmatrix_psvarray, via1, -25.4, 63.675, 0.26, 0.26, 4, 2, 0.52, 0.52)
A(m3_swmatrix_psvarray, via1, 146, 63.675, 0.26, 0.26, 4, 2, 0.52, 0.52)
A(m3_swmatrix_psvarray, via1, -27.68, 71.595, 0.26, 0.26, 4, 2, 0.52, 0.52)
A(m3_swmatrix_psvarray, via1, 148.28, 71.595, 0.26, 0.26, 4, 2, 0.52, 0.52)
A(m3_swmatrix_psvarray, via1, -27.68, 73.155, 0.26, 0.26, 4, 2, 0.52, 0.52)
A(m3_swmatrix_psvarray, via1, 148.28, 73.155, 0.26, 0.26, 4, 2, 0.52, 0.52)
A(m3_swmatrix_psvarray, via1, -25.4, 81.075, 0.26, 0.26, 4, 2, 0.52, 0.52)
A(m3_swmatrix_psvarray, via1, 146, 81.075, 0.26, 0.26, 4, 2, 0.52, 0.52)
A(m3_swmatrix_psvarray, via1, -27.68, 86.595, 0.26, 0.26, 4, 2, 0.52, 0.52)
A(m3_swmatrix_psvarray, via1, 148.28, 86.595, 0.26, 0.26, 4, 2, 0.52, 0.52)
R(m3_swmatrix_psvarray, via2, [(-23.105,60.025,-22.845,60.285), (-22.585,60.025,-22.325,60.285), (144.745,60.025,145.005,60.285), (145.265,60.025,145.525,60.285), (-20.54,60.805,-20.28,61.065), (-20.02,60.805,-19.76,61.065), (142.18,60.805,142.44,61.065), (142.7,60.805,142.96,61.065), (-21.82,61.585,-21.56,61.845), (-21.3,61.585,-21.04,61.845), (143.46,61.585,143.72,61.845), (143.98,61.585,144.24,61.845), (-19.25,62.365,-18.99,62.625), (141.41,62.365,141.67,62.625), (-19.25,82.905,-18.99,83.165), (141.41,82.905,141.67,83.165), (-21.82,83.685,-21.56,83.945), (-21.3,83.685,-21.04,83.945), (143.46,83.685,143.72,83.945), (143.98,83.685,144.24,83.945), (-20.54,84.465,-20.28,84.725), (-20.02,84.465,-19.76,84.725), (142.18,84.465,142.44,84.725), (142.7,84.465,142.96,84.725), (-23.105,85.245,-22.845,85.505), (-22.585,85.245,-22.325,85.505), (144.745,85.245,145.005,85.505), (145.265,85.245,145.525,85.505)])
m3_swmatrix_psvarray.add(gdstk.FlexPath([(147.91,81.465),(-25.49,81.465)], 1, ends="flush", simple_path=True, layer=34, datatype=0))  # metal1
m3_swmatrix_psvarray.add(gdstk.FlexPath([(147.91,64.065),(-25.49,64.065)], 1, ends="flush", simple_path=True, layer=34, datatype=0))  # metal1
m3_swmatrix_psvarray.add(gdstk.FlexPath([(150.19,86.985),(-27.77,86.985)], 1, ends="flush", simple_path=True, layer=34, datatype=0))  # metal1
m3_swmatrix_psvarray.add(gdstk.FlexPath([(150.19,73.545),(-27.77,73.545)], 1, ends="flush", simple_path=True, layer=34, datatype=0))  # metal1
m3_swmatrix_psvarray.add(gdstk.FlexPath([(-27.77,58.545),(150.19,58.545)], 1, ends="flush", simple_path=True, layer=34, datatype=0))  # metal1
m3_swmatrix_psvarray.add(gdstk.FlexPath([(-27.77,71.985),(150.19,71.985)], 1, ends="flush", simple_path=True, layer=34, datatype=0))  # metal1
m3_swmatrix_psvarray.add(gdstk.FlexPath([(-20.65,84.595),(143.07,84.595)], 0.5, ends="flush", simple_path=True, layer=42, datatype=0))  # metal3
m3_swmatrix_psvarray.add(gdstk.FlexPath([(-21.93,83.815),(144.35,83.815)], 0.5, ends="flush", simple_path=True, layer=42, datatype=0))  # metal3
m3_swmatrix_psvarray.add(gdstk.FlexPath([(-23.21,85.375),(145.63,85.375)], 0.5, ends="flush", simple_path=True, layer=42, datatype=0))  # metal3
m3_swmatrix_psvarray.add(gdstk.FlexPath([(145.63,60.155),(-23.21,60.155)], 0.5, ends="flush", simple_path=True, layer=42, datatype=0))  # metal3
m3_swmatrix_psvarray.add(gdstk.FlexPath([(144.35,61.715),(-21.93,61.715)], 0.5, ends="flush", simple_path=True, layer=42, datatype=0))  # metal3
m3_swmatrix_psvarray.add(gdstk.FlexPath([(143.07,60.935),(-20.65,60.935)], 0.5, ends="flush", simple_path=True, layer=42, datatype=0))  # metal3
m3_swmatrix_psvarray.add(gdstk.FlexPath([(141.79,83.035),(141.01,83.035)], 0.5, ends="flush", simple_path=True, layer=42, datatype=0))  # metal3
m3_swmatrix_psvarray.add(gdstk.FlexPath([(-19.37,62.495),(-18.59,62.495)], 0.5, ends="flush", simple_path=True, layer=42, datatype=0))  # metal3
m3_swmatrix_psvarray.add(gdstk.FlexPath([(141.01,62.495),(141.79,62.495)], 0.5, ends="flush", simple_path=True, layer=42, datatype=0))  # metal3
m3_swmatrix_psvarray.add(gdstk.FlexPath([(-19.37,83.035),(-18.59,83.035)], 0.5, ends="flush", simple_path=True, layer=42, datatype=0))  # metal3
m3_swmatrix_psvarray.add(gdstk.FlexPath([(-26.77,89.765),(-26.77,55.765)], 2, ends="flush", simple_path=True, layer=36, datatype=0))  # metal2
m3_swmatrix_psvarray.add(gdstk.FlexPath([(-24.49,89.765),(-24.49,55.765)], 2, ends="flush", simple_path=True, layer=36, datatype=0))  # metal2
m3_swmatrix_psvarray.add(gdstk.FlexPath([(-22.71,89.765),(-22.71,55.765)], 1, ends="flush", simple_path=True, layer=36, datatype=0))  # metal2
m3_swmatrix_psvarray.add(gdstk.FlexPath([(-21.43,89.765),(-21.43,55.765)], 1, ends="flush", simple_path=True, layer=36, datatype=0))  # metal2
m3_swmatrix_psvarray.add(gdstk.FlexPath([(-20.15,89.765),(-20.15,55.765)], 1, ends="flush", simple_path=True, layer=36, datatype=0))  # metal2
m3_swmatrix_psvarray.add(gdstk.FlexPath([(-19.12,89.765),(-19.12,82.785)], 0.5, ends="flush", simple_path=True, layer=36, datatype=0))  # metal2
m3_swmatrix_psvarray.add(gdstk.FlexPath([(-19.12,55.765),(-19.12,62.745)], 0.5, ends="flush", simple_path=True, layer=36, datatype=0))  # metal2
m3_swmatrix_psvarray.add(gdstk.FlexPath([(142.57,89.765),(142.57,55.765)], 1, ends="flush", simple_path=True, layer=36, datatype=0))  # metal2
m3_swmatrix_psvarray.add(gdstk.FlexPath([(143.85,89.765),(143.85,55.765)], 1, ends="flush", simple_path=True, layer=36, datatype=0))  # metal2
m3_swmatrix_psvarray.add(gdstk.FlexPath([(145.13,89.765),(145.13,55.765)], 1, ends="flush", simple_path=True, layer=36, datatype=0))  # metal2
m3_swmatrix_psvarray.add(gdstk.FlexPath([(146.91,89.765),(146.91,55.765)], 2, ends="flush", simple_path=True, layer=36, datatype=0))  # metal2
m3_swmatrix_psvarray.add(gdstk.FlexPath([(149.19,89.765),(149.19,55.765)], 2, ends="flush", simple_path=True, layer=36, datatype=0))  # metal2
m3_swmatrix_psvarray.add(gdstk.FlexPath([(141.54,62.245),(141.54,83.285)], 0.5, ends="flush", simple_path=True, layer=36, datatype=0))  # metal2
m3_swmatrix_psvarray.add(gdstk.Reference(m3_switch_cell_v2, (-14.965,88.61)))
m3_swmatrix_psvarray.add(gdstk.Reference(m3_switch_cell_v2, (16.955,88.61)))
m3_swmatrix_psvarray.add(gdstk.Reference(m3_switch_cell_v2, (48.875,88.61)))
m3_swmatrix_psvarray.add(gdstk.Reference(m3_switch_cell_v2, (80.795,88.61)))
m3_swmatrix_psvarray.add(gdstk.Reference(m3_switch_cell_v2, (112.715,88.61)))
m3_swmatrix_psvarray.add(gdstk.Reference(m3_switch_cell_v2, (137.385,56.92), rotation=pi))
m3_swmatrix_psvarray.add(gdstk.Reference(m3_switch_cell_v2, (105.465,56.92), rotation=pi))
m3_swmatrix_psvarray.add(gdstk.Reference(m3_switch_cell_v2, (73.545,56.92), rotation=pi))
m3_swmatrix_psvarray.add(gdstk.Reference(m3_switch_cell_v2, (41.625,56.92), rotation=pi))
m3_swmatrix_psvarray.add(gdstk.Reference(m3_switch_cell_v2, (9.705,56.92), rotation=pi))
m3_swmatrix_psvarray.add(gdstk.Label('VDDD', (-26.77,83.3), layer=36, texttype=10))
m3_swmatrix_psvarray.add(gdstk.Label('VSSD', (-24.49,83.3), layer=36, texttype=10))
m3_swmatrix_psvarray.add(gdstk.Label('EN', (-22.71,83.3), layer=36, texttype=10))
m3_swmatrix_psvarray.add(gdstk.Label('CLK_PH2', (-21.43,83.3), layer=36, texttype=10))
m3_swmatrix_psvarray.add(gdstk.Label('CLK_PH1', (-20.15,83.3), layer=36, texttype=10))
m3_swmatrix_psvarray.add(gdstk.Label('DATA_IN', (-19.12,83.3), layer=36, texttype=10))

lib.write_gds('m3_swmatrix_psvarray.gds')
